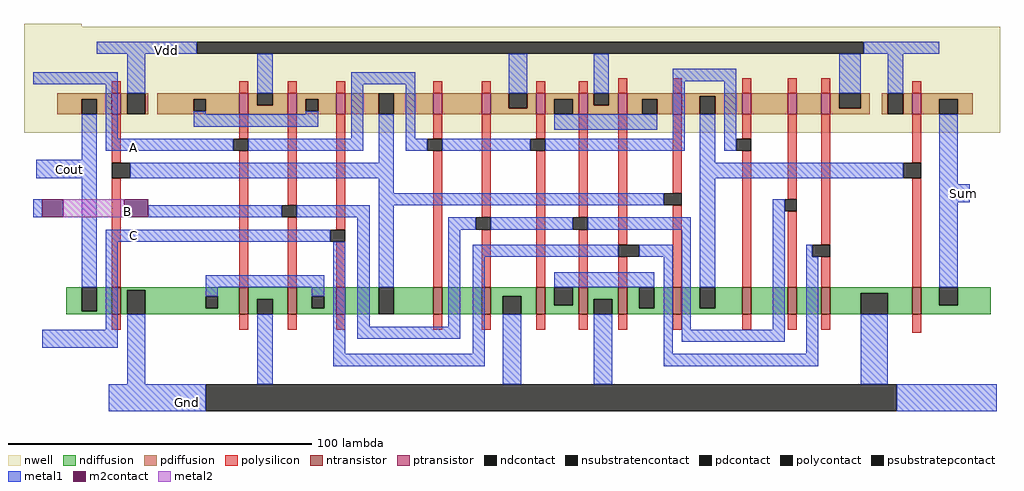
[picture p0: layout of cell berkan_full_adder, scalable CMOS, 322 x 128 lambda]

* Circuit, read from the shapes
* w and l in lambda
.subckt berkan_full_adder A B C Cout Gnd Sum Vdd
M1 Gnd n1 Cout Gnd nfet w=9 l=3
M2 Gnd A Gnd Gnd nfet w=9 l=3
M3 Gnd B Gnd Gnd nfet w=9 l=3
M4 n1 C Gnd Gnd nfet w=9 l=3
M5 n2 A n1 Gnd nfet w=9 l=3
M6 Gnd B n2 Gnd nfet w=9 l=3
M7 n3 A Gnd Gnd nfet w=9 l=3
M8 Gnd B n3 Gnd nfet w=9 l=3
M9 n3 C Gnd Gnd nfet w=9 l=3
M10 n4 n1 n3 Gnd nfet w=9 l=3
M11 n5 A n4 Gnd nfet w=9 l=3
M12 n6 B n5 Gnd nfet w=9 l=3
M13 Gnd C n6 Gnd nfet w=9 l=3
M14 Sum n4 Gnd Gnd nfet w=9 l=3
M15 Vdd n1 Cout Vdd pfet w=7 l=3
M16 Vdd A n7 Vdd pfet w=7 l=3
M17 n7 B Vdd Vdd pfet w=7 l=3
M18 n1 C n7 Vdd pfet w=7 l=3
M19 n8 A n1 Vdd pfet w=7 l=3
M20 Vdd B n8 Vdd pfet w=7 l=3
M21 n9 A Vdd Vdd pfet w=7 l=3
M22 Vdd B n9 Vdd pfet w=7 l=3
M23 n9 C Vdd Vdd pfet w=7 l=3
M24 n4 n1 n9 Vdd pfet w=7 l=3
M25 n10 A n4 Vdd pfet w=7 l=3
M26 n11 B n10 Vdd pfet w=7 l=3
M27 Vdd C n11 Vdd pfet w=7 l=3
M28 Sum n4 Vdd Vdd pfet w=7 l=3
.ends

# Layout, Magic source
magic
tech scmos
<< nwell >>
rect -132 30 -113 31
rect -132 -5 190 30
<< ntransistor >>
rect -103 -65 -100 -56
rect -61 -65 -58 -56
rect -45 -65 -42 -56
rect -29 -65 -26 -56
rect 3 -65 6 -56
rect 19 -65 22 -56
rect 37 -65 40 -56
rect 51 -65 54 -56
rect 64 -65 67 -56
rect 82 -65 85 -56
rect 105 -65 108 -56
rect 120 -65 123 -56
rect 131 -65 134 -56
rect 161 -65 164 -56
<< ptransistor >>
rect -103 1 -100 8
rect -61 1 -58 8
rect -45 1 -42 8
rect -29 1 -26 8
rect 3 1 6 8
rect 19 1 22 8
rect 37 1 40 8
rect 51 1 54 8
rect 64 1 67 8
rect 82 1 85 8
rect 105 1 108 8
rect 120 1 123 8
rect 131 1 134 8
rect 161 1 164 8
<< ndiffusion >>
rect -118 -64 -113 -56
rect -108 -64 -103 -56
rect -118 -65 -103 -64
rect -100 -57 -61 -56
rect -100 -65 -98 -57
rect -92 -59 -61 -57
rect -92 -63 -72 -59
rect -68 -63 -61 -59
rect -92 -65 -61 -63
rect -58 -60 -45 -56
rect -58 -65 -55 -60
rect -50 -65 -45 -60
rect -42 -59 -29 -56
rect -42 -63 -37 -59
rect -33 -63 -29 -59
rect -42 -65 -29 -63
rect -26 -65 -15 -56
rect -10 -65 3 -56
rect 6 -65 19 -56
rect 22 -59 37 -56
rect 22 -65 26 -59
rect 32 -65 37 -59
rect 40 -62 43 -56
rect 49 -62 51 -56
rect 40 -65 51 -62
rect 54 -60 64 -56
rect 54 -65 56 -60
rect 62 -65 64 -60
rect 67 -63 71 -56
rect 76 -63 82 -56
rect 67 -65 82 -63
rect 85 -63 91 -56
rect 96 -63 105 -56
rect 85 -65 105 -63
rect 108 -65 120 -56
rect 123 -65 131 -56
rect 134 -58 161 -56
rect 134 -65 144 -58
rect 153 -65 161 -58
rect 164 -62 170 -56
rect 176 -62 187 -56
rect 164 -65 187 -62
<< pdiffusion >>
rect -121 6 -103 8
rect -121 1 -113 6
rect -108 1 -103 6
rect -100 1 -98 8
rect -92 1 -91 8
rect -88 6 -61 8
rect -88 2 -76 6
rect -72 2 -61 6
rect -88 1 -61 2
rect -58 4 -55 8
rect -50 4 -45 8
rect -58 1 -45 4
rect -42 6 -29 8
rect -42 2 -39 6
rect -35 2 -29 6
rect -42 1 -29 2
rect -26 1 -15 8
rect -10 1 3 8
rect 6 1 19 8
rect 22 3 28 8
rect 34 3 37 8
rect 22 1 37 3
rect 40 6 51 8
rect 40 1 43 6
rect 49 1 51 6
rect 54 4 56 8
rect 61 4 64 8
rect 54 1 64 4
rect 67 6 82 8
rect 67 1 72 6
rect 77 1 82 6
rect 85 7 105 8
rect 85 1 91 7
rect 96 1 105 7
rect 108 1 120 8
rect 123 1 131 8
rect 134 3 137 8
rect 144 3 147 8
rect 134 1 147 3
rect 151 1 153 8
rect 158 1 161 8
rect 164 6 181 8
rect 164 1 170 6
rect 176 1 181 6
<< ndcontact >>
rect -113 -64 -108 -56
rect -98 -65 -92 -57
rect -72 -63 -68 -59
rect -55 -65 -50 -60
rect -37 -63 -33 -59
rect -15 -65 -10 -56
rect 26 -65 32 -59
rect 43 -62 49 -56
rect 56 -65 62 -60
rect 71 -63 76 -56
rect 91 -63 96 -56
rect 144 -65 153 -58
rect 170 -62 176 -56
<< pdcontact >>
rect -113 1 -108 6
rect -98 1 -92 8
rect -76 2 -72 6
rect -55 4 -50 8
rect -39 2 -35 6
rect -15 1 -10 8
rect 28 3 34 8
rect 43 1 49 6
rect 56 4 61 8
rect 72 1 77 6
rect 91 1 96 7
rect 137 3 144 8
rect 153 1 158 8
rect 170 1 176 6
<< psubstratepcontact >>
rect -72 -97 156 -88
<< nsubstratencontact >>
rect -75 21 145 25
<< polysilicon >>
rect -103 8 -100 12
rect -61 8 -58 12
rect -45 8 -42 12
rect -29 8 -26 12
rect 3 8 6 12
rect 19 8 22 12
rect 37 8 40 12
rect 51 8 54 12
rect 64 8 67 13
rect 82 8 85 13
rect 105 8 108 13
rect 120 8 123 13
rect 131 8 134 13
rect 161 8 164 12
rect -103 -15 -100 1
rect -61 -7 -58 1
rect -103 -56 -100 -20
rect -61 -56 -58 -11
rect -45 -29 -42 1
rect -45 -56 -42 -33
rect -29 -37 -26 1
rect 3 -7 6 1
rect -29 -56 -26 -41
rect 3 -56 6 -11
rect 19 -33 22 1
rect 37 -7 40 1
rect 19 -56 22 -37
rect 37 -56 40 -11
rect 51 -33 54 1
rect 51 -56 54 -37
rect 64 -42 67 1
rect 82 -25 85 1
rect 105 -7 108 1
rect 64 -56 67 -46
rect 82 -56 85 -29
rect 105 -56 108 -11
rect 120 -27 123 1
rect 120 -56 123 -31
rect 131 -42 134 1
rect 161 -15 164 1
rect 131 -56 134 -46
rect 161 -56 164 -20
rect -103 -70 -100 -65
rect -61 -70 -58 -65
rect -45 -70 -42 -65
rect -29 -70 -26 -65
rect 3 -70 6 -65
rect 19 -70 22 -65
rect 37 -70 40 -65
rect 51 -70 54 -65
rect 64 -70 67 -65
rect 82 -70 85 -65
rect 105 -70 108 -65
rect 120 -70 123 -65
rect 131 -70 134 -65
rect 161 -71 164 -65
<< polycontact >>
rect -63 -11 -58 -7
rect -103 -20 -97 -15
rect -47 -33 -42 -29
rect 1 -11 6 -7
rect -31 -41 -26 -37
rect 35 -11 40 -7
rect 17 -37 22 -33
rect 49 -37 54 -33
rect 103 -11 108 -7
rect 79 -29 85 -25
rect 64 -46 71 -42
rect 119 -31 123 -27
rect 158 -20 164 -15
rect 128 -46 134 -42
<< metal1 >>
rect -108 21 -75 25
rect 145 21 170 25
rect -129 11 -101 15
rect -113 -14 -108 1
rect -105 -7 -101 11
rect -98 8 -92 21
rect -55 8 -50 21
rect -24 11 -3 15
rect -76 1 -72 2
rect -39 1 -35 2
rect -76 -3 -35 1
rect -24 -7 -20 11
rect -105 -11 -63 -7
rect -58 -11 -20 -7
rect -128 -20 -108 -14
rect -15 -15 -10 1
rect -6 -7 -3 11
rect 28 8 34 21
rect 56 8 61 21
rect 82 12 103 16
rect 43 -4 77 1
rect 82 -7 86 12
rect -6 -11 1 -7
rect 6 -11 35 -7
rect 40 -11 86 -7
rect -97 -20 -10 -15
rect -129 -33 -126 -27
rect -113 -56 -108 -20
rect -15 -25 -10 -20
rect 91 -15 96 1
rect 99 -11 103 12
rect 137 8 144 21
rect 153 8 158 21
rect 91 -20 158 -15
rect -15 -29 79 -25
rect -91 -33 -47 -29
rect -42 -33 -18 -29
rect -105 -41 -31 -37
rect -105 -70 -101 -41
rect -72 -56 -33 -52
rect -126 -76 -101 -70
rect -72 -59 -68 -56
rect -37 -59 -33 -56
rect -98 -88 -92 -65
rect -55 -88 -50 -65
rect -30 -78 -26 -41
rect -22 -69 -18 -33
rect -15 -56 -10 -29
rect 8 -37 17 -33
rect 22 -37 49 -33
rect 54 -37 88 -33
rect 8 -69 12 -37
rect -22 -73 12 -69
rect 16 -46 64 -42
rect 71 -46 82 -42
rect 16 -78 20 -46
rect 43 -56 76 -51
rect -30 -82 20 -78
rect 26 -88 32 -65
rect 56 -88 62 -65
rect 79 -78 82 -46
rect 85 -70 88 -37
rect 91 -56 96 -20
rect 170 -22 176 1
rect 115 -70 119 -27
rect 170 -28 180 -22
rect 85 -74 119 -70
rect 126 -46 128 -42
rect 126 -78 130 -46
rect 170 -56 176 -28
rect 79 -82 130 -78
rect 144 -88 153 -65
rect -104 -97 -72 -88
rect 156 -97 189 -88
<< m2contact >>
rect -126 -33 -119 -27
rect -99 -33 -91 -27
<< metal2 >>
rect -119 -33 -99 -27
<< labels >>
rlabel metal1 -78 -94 -78 -94 1 Gnd
rlabel metal1 -85 22 -85 22 1 Vdd
rlabel m2contact -98 -31 -98 -31 3 B
rlabel metal1 -96 -39 -96 -39 3 C
rlabel metal1 178 -25 178 -25 1 Sum
rlabel metal1 -117 -17 -117 -17 1 Cout
rlabel metal1 -96 -10 -96 -10 3 A
<< end >>
